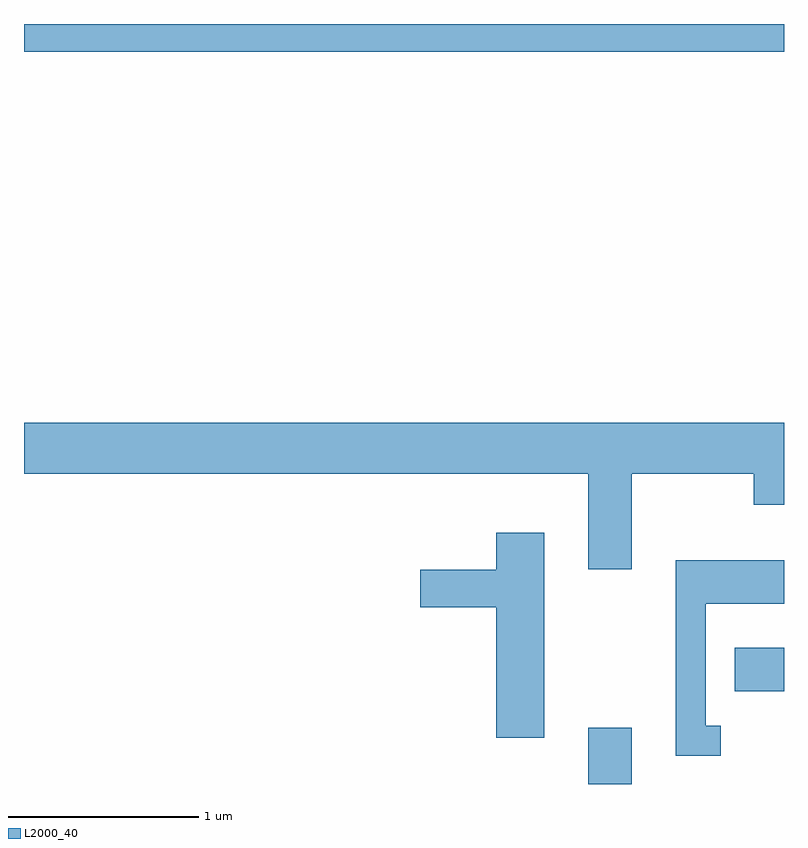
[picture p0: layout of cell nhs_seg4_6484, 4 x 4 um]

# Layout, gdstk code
import gdstk
lib = gdstk.Library(unit=1e-6, precision=1e-09)
def R(c, l, rs):  # rectangles x0, y0, x1, y1
    for r in rs: c.add(gdstk.rectangle(r[:2], r[2:], *l))
def P(c, l, *ps):  # polygons
    for p in ps: c.add(gdstk.Polygon(p, *l))
L2000_40 = (2000, 40)

nhs_seg4_6484 = lib.new_cell('nhs_seg4_6484')
R(nhs_seg4_6484, L2000_40, [(378.581,1301.982,378.809,1302.279), (379.351,1302.471,379.611,1302.699), (375.611,1305.836,379.611,1305.982)])
P(nhs_seg4_6484, L2000_40, [(378.809,1303.616),(379.451,1303.616),(379.451,1303.451),(379.611,1303.451),(379.611,1303.884),(375.611,1303.884),(375.611,1303.616),(378.581,1303.616),(378.581,1303.111),(378.809,1303.111)],
  [(378.349,1303.304),(378.096,1303.304),(378.096,1303.109),(377.696,1303.109),(377.696,1302.911),(378.096,1302.911),(378.096,1302.226),(378.349,1302.226)],
  [(379.278,1302.289),(379.199,1302.289),(379.199,1302.931),(379.611,1302.931),(379.611,1303.159),(379.041,1303.159),(379.041,1302.131),(379.278,1302.131)])

lib.write_gds('nhs_seg4_6484.gds')
